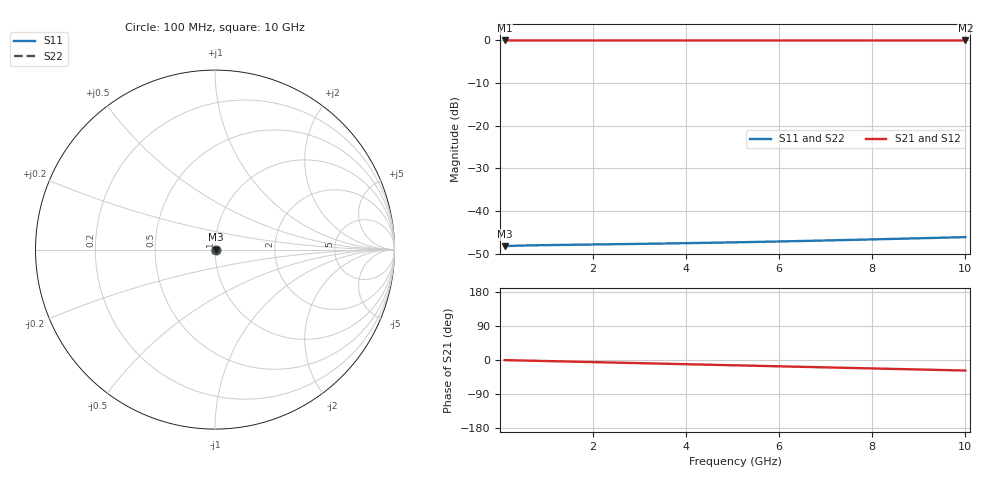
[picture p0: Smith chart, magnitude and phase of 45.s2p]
# Hz S RI R 50.00
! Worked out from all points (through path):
!   100 points, 100 MHz to 10 GHz, reference 50 ohm
!   highest |S21| = -0.03 dB at 100 MHz (marker M1); lowest = 0.0 dB at 10 GHz (marker M2)
!   group delay of S21, straight-line fit = 7.73 ps
!   lowest |S11| = -48.2 dB at 100 MHz (marker M3), VSWR 1.01, Z = 50.4 - j0.00463 ohm
!   |S11| at or under -10 dB: start of sweep to end of sweep
!   |S22| runs from -48.2 to -46.1 dB; largest |S21 - S12| = 0
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1e8  0.00387 -4.59e-05  0.9961 -0.00483  0.9961 -0.00483  0.00387 -4.59e-05
2e8  0.0039 -9.21e-05  0.996 -0.00965  0.996 -0.00965  0.0039 -9.21e-05
3e8  0.00391 -0.000138  0.996 -0.0145  0.996 -0.0145  0.00391 -0.000138
4e8  0.00392 -0.000185  0.9959 -0.0193  0.9959 -0.0193  0.00392 -0.000185
6e8  0.00394 -0.000278  0.9956 -0.029  0.9956 -0.029  0.00394 -0.000278
1.1e9  0.00396 -0.000512  0.9946 -0.0531  0.9946 -0.0531  0.00396 -0.000512
1.8e9  0.00395 -0.00084  0.9921 -0.0868  0.9921 -0.0868  0.00395 -0.00084
2.2e9  0.00393 -0.00103  0.9902 -0.106  0.9902 -0.106  0.00393 -0.00103
2.6e9  0.00391 -0.00122  0.9879 -0.1252  0.9879 -0.1252  0.00391 -0.00122
3e9  0.00388 -0.0014  0.9853 -0.1443  0.9853 -0.1443  0.00388 -0.0014
3.4e9  0.00384 -0.00159  0.9823 -0.1634  0.9823 -0.1634  0.00384 -0.00159
3.8e9  0.00379 -0.00178  0.9789 -0.1824  0.9789 -0.1824  0.00379 -0.00178
4.2e9  0.00373 -0.00196  0.9752 -0.2013  0.9752 -0.2013  0.00373 -0.00196
4.6e9  0.00367 -0.00215  0.971 -0.2202  0.971 -0.2202  0.00367 -0.00215
5.1e9  0.00359 -0.00238  0.9654 -0.2437  0.9654 -0.2437  0.00359 -0.00238
5.9e9  0.00343 -0.00274  0.9551 -0.281  0.9551 -0.281  0.00343 -0.00274
6.7e9  0.00325 -0.00309  0.9434 -0.3179  0.9434 -0.3179  0.00325 -0.00309
7.5e9  0.00304 -0.00343  0.9303 -0.3543  0.9303 -0.3543  0.00304 -0.00343
7.9e9  0.00293 -0.00359  0.9232 -0.3723  0.9232 -0.3723  0.00293 -0.00359
8.4e9  0.00278 -0.0038  0.9139 -0.3946  0.9139 -0.3946  0.00278 -0.0038
9.2e9  0.00252 -0.00411  0.8978 -0.4299  0.8978 -0.4299  0.00252 -0.00411
1e10  0.00225 -0.00441  0.8803 -0.4645  0.8803 -0.4645  0.00225 -0.00441
